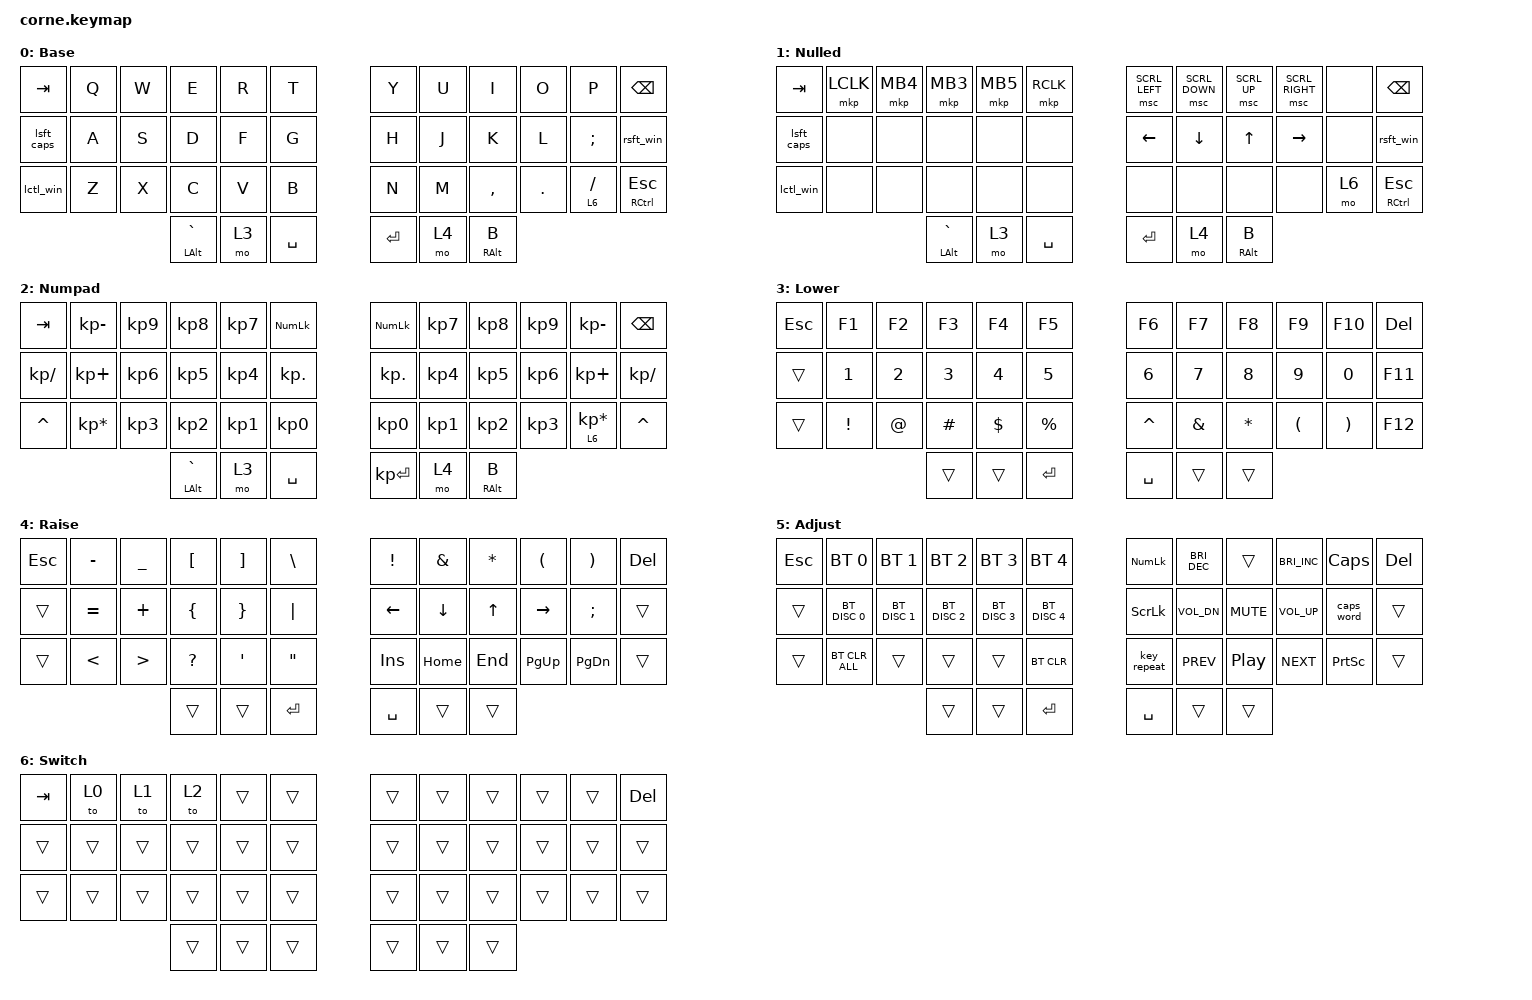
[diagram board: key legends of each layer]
#include <behaviors.dtsi>
#include <dt-bindings/zmk/bt.h>
#include <dt-bindings/zmk/keys.h>
#include <dt-bindings/zmk/pointing.h>
#include <dt-bindings/zmk/pointing.h>

/ {
    behaviors {
        lsft_caps: lsft_caps {
            compatible = "zmk,behavior-tap-dance";
            label = "LSFT_CAPS";
            #binding-cells = <0>;
            bindings = <&kp LEFT_SHIFT>, <&kp CAPSLOCK>;
        };

        lctl_win: lctl_win {
            compatible = "zmk,behavior-tap-dance";
            label = "LCTL_WIN";
            #binding-cells = <0>;
            bindings = <&kp LCTRL>, <&kp LEFT_GUI>;
        };

        rsft_win: rsft_win {
            compatible = "zmk,behavior-tap-dance";
            label = "RSFT_WIN";
            #binding-cells = <0>;
            bindings = <&kp RIGHT_SHIFT>, <&kp RIGHT_GUI>;
        };
    };

    keymap {
        compatible = "zmk,keymap";

        Base {
            bindings = <
&kp TAB     &kp Q  &kp W  &kp E               &kp R  &kp T        &kp Y      &kp U  &kp I            &kp O    &kp P          &kp BACKSPACE
&lsft_caps  &kp A  &kp S  &kp D               &kp F  &kp G        &kp H      &kp J  &kp K            &kp L    &kp SEMICOLON  &rsft_win
&lctl_win   &kp Z  &kp X  &kp C               &kp V  &kp B        &kp N      &kp M  &kp COMMA        &kp DOT  &lt 6 FSLH     &mt RCTRL ESCAPE
                          &mt LEFT_ALT GRAVE  &mo 3  &kp SPACE    &kp ENTER  &mo 4  &mt RIGHT_ALT B
            >;
        };

        Nulled {
            bindings = <
&kp TAB     &mkp LCLK  &mkp MB4  &mkp MB3            &mkp MB5  &mkp RCLK    &msc SCRL_LEFT  &msc SCRL_DOWN  &msc SCRL_UP     &msc SCRL_RIGHT  &none  &kp BACKSPACE
&lsft_caps  &none      &none     &none               &none     &none        &kp LEFT        &kp DOWN        &kp UP           &kp RIGHT        &none  &rsft_win
&lctl_win   &none      &none     &none               &none     &none        &none           &none           &none            &none            &mo 6  &mt RCTRL ESCAPE
                                 &mt LEFT_ALT GRAVE  &mo 3     &kp SPACE    &kp ENTER       &mo 4           &mt RIGHT_ALT B
            >;
        };

        Numpad {
            bindings = <
&kp TAB        &kp KP_SUBTRACT  &kp KP_NUMBER_9  &kp KP_NUMBER_8     &kp KP_NUMBER_7  &kp KP_NUM         &kp KP_NUMLOCK  &kp KP_N7  &kp KP_N8        &kp KP_N9  &kp KP_SUBTRACT    &kp BACKSPACE
&kp KP_DIVIDE  &kp KP_PLUS      &kp KP_NUMBER_6  &kp KP_NUMBER_5     &kp KP_NUMBER_4  &kp KP_DOT         &kp KP_DOT      &kp KP_N4  &kp KP_N5        &kp KP_N6  &kp KP_PLUS        &kp KP_DIVIDE
&kp CARET      &kp KP_MULTIPLY  &kp KP_NUMBER_3  &kp KP_NUMBER_2     &kp KP_NUMBER_1  &kp KP_NUMBER_0    &kp KP_N0       &kp KP_N1  &kp KP_N2        &kp KP_N3  &lt 6 KP_ASTERISK  &kp CARET
                                                 &mt LEFT_ALT GRAVE  &mo 3            &kp SPACE          &kp KP_ENTER    &mo 4      &mt RIGHT_ALT B
            >;
        };

        Lower {
            bindings = <
&kp ESCAPE  &kp F1    &kp F2       &kp F3    &kp F4      &kp F5         &kp F6     &kp F7         &kp F8        &kp F9                &kp F10                &kp DELETE
&trans      &kp N1    &kp N2       &kp N3    &kp N4      &kp N5         &kp N6     &kp N7         &kp N8        &kp N9                &kp N0                 &kp F11
&trans      &kp EXCL  &kp AT_SIGN  &kp HASH  &kp DOLLAR  &kp PERCENT    &kp CARET  &kp AMPERSAND  &kp ASTERISK  &kp LEFT_PARENTHESIS  &kp RIGHT_PARENTHESIS  &kp F12
                                   &trans    &trans      &kp ENTER      &kp SPACE  &trans         &trans
            >;
        };

        Raise {
            bindings = <
&kp ESCAPE  &kp MINUS      &kp UNDERSCORE    &kp LEFT_BRACKET  &kp RIGHT_BRACKET  &kp BACKSLASH        &kp EXCLAMATION  &kp AMPERSAND  &kp ASTERISK  &kp LEFT_PARENTHESIS  &kp RIGHT_PARENTHESIS  &kp DELETE
&trans      &kp EQUAL      &kp PLUS          &kp LEFT_BRACE    &kp RIGHT_BRACE    &kp PIPE             &kp LEFT         &kp DOWN       &kp UP_ARROW  &kp RIGHT             &kp SEMICOLON          &trans
&trans      &kp LESS_THAN  &kp GREATER_THAN  &kp QUESTION      &kp SINGLE_QUOTE   &kp DOUBLE_QUOTES    &kp INSERT       &kp HOME       &kp END       &kp PAGE_UP           &kp PAGE_DOWN          &trans
                                             &trans            &trans             &kp ENTER            &kp SPACE        &trans         &trans
            >;
        };

        Adjust {
            bindings = <
&kp ESCAPE  &bt BT_SEL 0    &bt BT_SEL 1   &bt BT_SEL 2   &bt BT_SEL 3   &bt BT_SEL 4     &kp KP_NUM      &kp C_BRIGHTNESS_DEC  &trans            &kp C_BRIGHTNESS_INC  &kp CAPSLOCK     &kp DELETE
&trans      &bt BT_DISC 0   &bt BT_DISC 1  &bt BT_DISC 2  &bt BT_DISC 3  &bt BT_DISC 4    &kp SCROLLLOCK  &kp C_VOL_DN          &kp C_MUTE        &kp C_VOL_UP          &caps_word       &trans
&trans      &bt BT_CLR_ALL  &trans         &trans         &trans         &bt BT_CLR       &key_repeat     &kp C_PREV            &kp C_PLAY_PAUSE  &kp C_NEXT            &kp PRINTSCREEN  &trans
                                           &trans         &trans         &kp ENTER        &kp SPACE       &trans                &trans
            >;
        };

        Switch {
            bindings = <
&kp TAB  &to 0   &to 1   &to 2   &trans  &trans    &trans  &trans  &trans  &trans  &trans  &kp DELETE
&trans   &trans  &trans  &trans  &trans  &trans    &trans  &trans  &trans  &trans  &trans  &trans
&trans   &trans  &trans  &trans  &trans  &trans    &trans  &trans  &trans  &trans  &trans  &trans
                         &trans  &trans  &trans    &trans  &trans  &trans
            >;
        };
    };

    conditional_layers {
        compatible = "zmk,conditional-layers";

        tri_layer {
            if-layers = <3 4>;
            then-layer = <5>;
        };
    };
};
